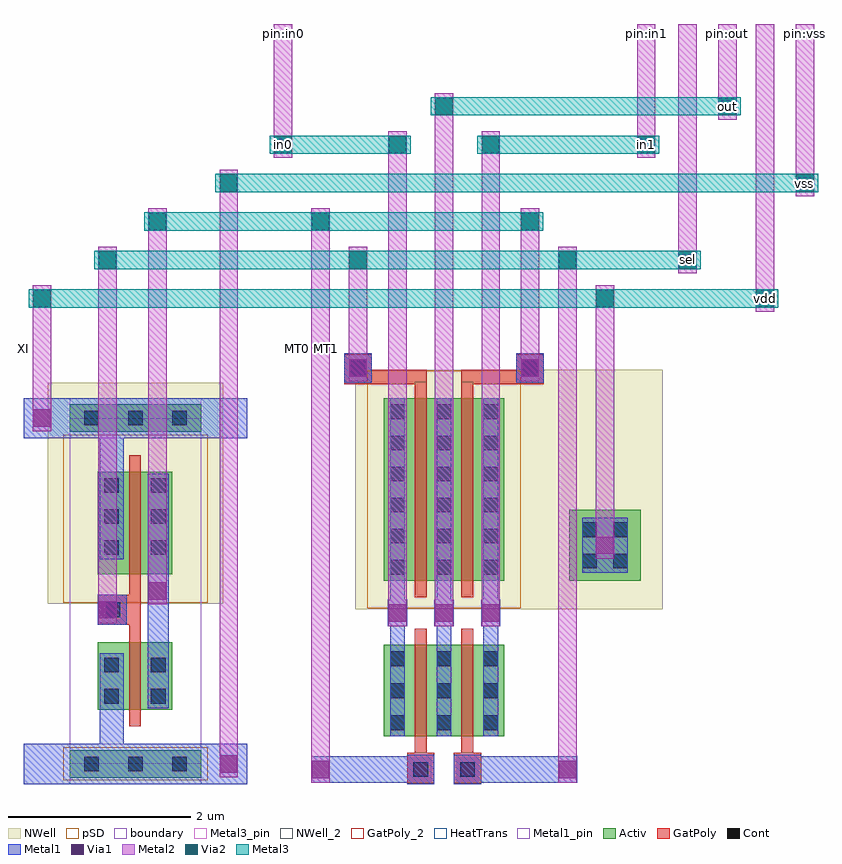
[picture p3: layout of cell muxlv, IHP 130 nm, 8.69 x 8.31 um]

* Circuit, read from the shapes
.subckt muxlv in0 in1 out sel vdd vss
XM1 sg13cmos5l_inv_1_0/Y sel vss vss sg13_lv_nmos w=0.74u l=0.13u
XM2 out sg13cmos5l_inv_1_0/Y in0 vss sg13_lv_nmos w=1u l=0.13u
XM3 in1 sel out vss sg13_lv_nmos w=1u l=0.13u
XM4 sg13cmos5l_inv_1_0/Y sel vdd vdd sg13_lv_pmos w=1.12u l=0.13u
XM5 out sel in0 vdd sg13_lv_pmos w=2u l=0.13u
XM6 in1 sg13cmos5l_inv_1_0/Y out vdd sg13_lv_pmos w=2u l=0.13u
.ends

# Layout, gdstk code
import gdstk
lib = gdstk.Library(unit=1e-6, precision=1e-09)
def R(c, l, rs):  # rectangles x0, y0, x1, y1
    for r in rs: c.add(gdstk.rectangle(r[:2], r[2:], *l))
def A(c, l, x, y, w, h, nx, ny, dx, dy):  # array of equal rectangles
    R(c, l, [(x+i*dx, y+j*dy, x+i*dx+w, y+j*dy+h) for i in range(nx) for j in range(ny)])
def P(c, l, *ps):  # polygons
    for p in ps: c.add(gdstk.Polygon(p, *l))
Activ = (1, 0)
GatPoly = (5, 0)
GatPoly_2 = (5, 2)
Cont = (6, 0)
Metal1 = (8, 0)
Metal1_pin = (8, 2)
Metal2 = (10, 0)
pSD = (14, 0)
Via1 = (19, 0)
Via2 = (29, 0)
Metal3 = (30, 0)
Metal3_pin = (30, 2)
NWell = (31, 0)
NWell_2 = (31, 2)
HeatTrans = (51, 0)
boundary = (189, 4)

sg13cmos5l_inv_1 = lib.new_cell('sg13cmos5l_inv_1')
R(sg13cmos5l_inv_1, Activ, [(0,-0.15,1.44,0.15), (0.31,0.59,1.12,1.33), (0.31,2.075,1.12,3.195), (0,3.63,1.44,3.93)])
P(sg13cmos5l_inv_1, GatPoly, [(0.65,0.41),(0.65,1.52),(0.31,1.52),(0.31,1.85),(0.65,1.85),(0.65,3.375),(0.78,3.375),(0.78,0.41)])
A(sg13cmos5l_inv_1, Cont, 0.38, 2.285, 0.16, 0.16, 1, 3, 0, 0.34)
A(sg13cmos5l_inv_1, Cont, 0.89, 2.285, 0.16, 0.16, 1, 3, 0, 0.34)
R(sg13cmos5l_inv_1, Cont, [(0.16,-0.08,0.32,0.08), (0.16,-0.08,0.32,0.08), (0.64,-0.08,0.8,0.08), (0.64,-0.08,0.8,0.08), (1.12,-0.08,1.28,0.08), (1.12,-0.08,1.28,0.08), (0.38,0.66,0.54,0.82), (0.89,0.66,1.05,0.82), (0.38,1,0.54,1.16), (0.89,1,1.05,1.16), (0.395,1.605,0.555,1.765), (0.16,3.7,0.32,3.86), (0.16,3.7,0.32,3.86), (0.64,3.7,0.8,3.86), (0.64,3.7,0.8,3.86), (1.12,3.7,1.28,3.86), (1.12,3.7,1.28,3.86)])
R(sg13cmos5l_inv_1, Metal1, [(0.855,0.61,1.085,3.175), (0.31,1.52,0.625,1.85)])
P(sg13cmos5l_inv_1, Metal1, [(0,-0.22),(0,0.22),(0.33,0.22),(0.33,1.21),(0.59,1.21),(0.59,0.22),(1.44,0.22),(1.44,-0.22)],
  [(0.33,2.235),(0.33,3.56),(0,3.56),(0,4),(1.44,4),(1.44,3.56),(0.59,3.56),(0.59,2.235)])
R(sg13cmos5l_inv_1, Metal1_pin, [(0,-0.22,1.44,0.22), (0.855,0.61,1.085,3.175), (0.31,1.52,0.625,1.85), (0,3.56,1.44,4)])
R(sg13cmos5l_inv_1, pSD, [(-0.07,-0.18,1.51,0.18), (-0.07,1.76,1.51,3.6)])
R(sg13cmos5l_inv_1, NWell, [(-0.24,1.75,1.68,4.17)])
R(sg13cmos5l_inv_1, boundary, [(0,0,1.44,3.78)])
sg13cmos5l_inv_1.add(gdstk.Label('VDD', (0.705,3.78), layer=8, texttype=25))
sg13cmos5l_inv_1.add(gdstk.Label('VSS', (0.72,-0.02), layer=8, texttype=25))
sg13cmos5l_inv_1.add(gdstk.Label('A', (0.48,1.68), layer=8, texttype=25))
sg13cmos5l_inv_1.add(gdstk.Label('Y', (0.98,1.69), layer=8, texttype=25))

nmos_2 = lib.new_cell('nmos$2')
A(nmos_2, Activ, 0, 0, 0.3, 0.3, 3, 1, 0.51, 0)
R(nmos_2, Activ, [(0,0,1.32,1)])
R(nmos_2, GatPoly, [(0.34,-0.18,0.47,1.18), (0.85,-0.18,0.98,1.18)])
R(nmos_2, GatPoly_2, [(0.34,-0.18,0.47,1.18)])
A(nmos_2, Cont, 0.07, 0.07, 0.16, 0.16, 3, 3, 0.51, 0.35)
A(nmos_2, Metal1, 0.07, 0, 0.16, 1, 3, 1, 0.51, 0)
R(nmos_2, Metal1_pin, [(0.07,0,0.23,1), (0.58,0,0.74,1)])
R(nmos_2, HeatTrans, [(0.34,-0.18,0.47,1.18), (0.85,-0.18,0.98,1.18)])
nmos_2.add(gdstk.Label('nmos', (0.405,0.5), layer=63, texttype=0))
nmos_2.add(gdstk.Label('nmos', (0.405,0.5), layer=51, texttype=0))
nmos_2.add(gdstk.Label('nmos', (0.915,0.5), layer=51, texttype=0))

pmos_2 = lib.new_cell('pmos$2')
A(pmos_2, Activ, 0, 0, 0.3, 0.3, 3, 1, 0.51, 0)
R(pmos_2, Activ, [(0,0,1.32,2)])
R(pmos_2, GatPoly, [(0.34,-0.18,0.47,2.18), (0.34,-0.18,0.47,2.18), (0.85,-0.18,0.98,2.18)])
A(pmos_2, Cont, 0.07, 0.07, 0.16, 0.16, 3, 6, 0.51, 0.34)
R(pmos_2, Metal1, [(0.07,0,0.23,2), (0.07,0,0.23,2), (0.58,0,0.74,2), (0.58,0,0.74,2), (1.09,0,1.25,2)])
R(pmos_2, pSD, [(-0.18,-0.3,1.5,2.3)])
R(pmos_2, NWell, [(-0.31,-0.31,1.63,2.31)])
R(pmos_2, HeatTrans, [(0.34,-0.18,0.47,2.18), (0.85,-0.18,0.98,2.18)])
pmos_2.add(gdstk.Label('pmos', (0.405,1), layer=63, texttype=0))
pmos_2.add(gdstk.Label('pmos', (0.405,1), layer=51, texttype=0))
pmos_2.add(gdstk.Label('pmos', (0.915,1), layer=51, texttype=0))

ntap1 = lib.new_cell('ntap1')
R(ntap1, Activ, [(0,0,0.78,0.78)])
R(ntap1, Cont, [(0.14,0.14,0.3,0.3), (0.48,0.14,0.64,0.3), (0.14,0.48,0.3,0.64), (0.48,0.48,0.64,0.64)])
R(ntap1, Metal1, [(0.14,0.09,0.64,0.69)])
R(ntap1, Metal1_pin, [(0.14,0.09,0.64,0.69), (0.14,0.14,0.64,0.64)])
R(ntap1, NWell, [(-0.24,-0.24,1.02,1.02), (0,0,0.78,0.78)])
R(ntap1, NWell_2, [(0,0,0.78,0.78)])
ntap1.add(gdstk.Label('well', (0.39,0.01), layer=31, texttype=0))
ntap1.add(gdstk.Label('well', (0.39,0.01), layer=63, texttype=0))

muxlv = lib.new_cell('muxlv')
R(muxlv, GatPoly, [(4.19,0.01,4.49,0.34), (4.7,0.01,5,0.34), (3.505,4.37,4.405,4.53), (3.505,4.37,3.805,4.7), (4.785,4.37,5.685,4.53), (5.385,4.37,5.685,4.7)])
R(muxlv, Cont, [(4.26,0.08,4.42,0.24), (4.77,0.08,4.93,0.24), (3.575,4.47,3.735,4.63), (5.455,4.47,5.615,4.63)])
A(muxlv, Metal1, 4.005, 0.52, 0.16, 3.7, 3, 1, 0.51, 0)
A(muxlv, Metal1, 3.98, 1.725, 0.21, 0.29, 3, 1, 0.51, 0)
R(muxlv, Metal1, [(0,0,0.5,0.44), (1.94,0,2.44,0.44), (4.19,0,4.49,0.32), (4.7,0,5,0.32), (3.14,0.015,4.34,0.305), (3.14,0.015,3.35,0.305), (3.35,0.015,4.34,0.305), (4.85,0.015,6.05,0.305), (4.85,0.015,5.84,0.305), (5.84,0.015,6.05,0.305), (2.135,0.075,2.345,0.365), (0.81,1.76,1.02,2.05), (1.355,1.965,1.565,2.255), (6.25,2.465,6.46,2.755), (0,3.78,0.5,4.22), (1.94,3.78,2.44,4.22), (0.095,3.855,0.305,4.145), (3.505,4.39,3.805,4.71), (5.385,4.39,5.685,4.71), (3.55,4.405,3.76,4.695), (5.43,4.405,5.64,4.695)])
R(muxlv, Metal2, [(3.145,0.015,3.345,6.295), (5.845,0.015,6.045,5.875), (2.14,0.075,2.34,6.715), (3.985,1.725,4.185,7.135), (4.495,1.725,4.695,7.555), (5.005,1.725,5.205,7.135), (0.815,1.76,1.015,5.875), (1.36,1.965,1.56,6.295), (6.255,2.465,6.455,5.455), (0.1,3.855,0.3,5.455), (3.555,4.405,3.755,5.875), (5.435,4.405,5.635,6.295), (8.005,5.165,8.205,8.31), (7.155,5.585,7.355,8.31), (8.44,6.425,8.64,8.31), (2.735,6.845,2.935,8.31), (6.705,6.845,6.905,8.31), (7.595,7.265,7.795,8.31)])
A(muxlv, Via1, 3.99, 1.775, 0.19, 0.19, 3, 1, 0.51, 0)
R(muxlv, Via1, [(3.15,0.065,3.34,0.255), (5.85,0.065,6.04,0.255), (2.145,0.125,2.335,0.315), (0.82,1.81,1.01,2), (1.365,2.015,1.555,2.205), (6.26,2.515,6.45,2.705), (0.105,3.905,0.295,4.095), (3.56,4.455,3.75,4.645), (5.44,4.455,5.63,4.645)])
R(muxlv, Via2, [(0.105,5.215,0.295,5.405), (6.26,5.215,6.45,5.405), (8.01,5.215,8.2,5.405), (0.82,5.635,1.01,5.825), (3.56,5.635,3.75,5.825), (5.85,5.635,6.04,5.825), (7.16,5.635,7.35,5.825), (1.365,6.055,1.555,6.245), (3.15,6.055,3.34,6.245), (5.44,6.055,5.63,6.245), (2.145,6.475,2.335,6.665), (8.445,6.475,8.635,6.665), (2.74,6.895,2.93,7.085), (3.99,6.895,4.18,7.085), (5.01,6.895,5.2,7.085), (6.71,6.895,6.9,7.085), (4.5,7.315,4.69,7.505), (7.6,7.315,7.79,7.505)])
R(muxlv, Metal3, [(0.055,5.21,8.25,5.41), (0.77,5.63,7.4,5.83), (1.315,6.05,5.68,6.25), (2.095,6.47,8.685,6.67), (2.69,6.89,4.23,7.09), (4.96,6.89,6.95,7.09), (4.45,7.31,7.84,7.51)])
R(muxlv, Metal3_pin, [(8.04,5.245,8.17,5.375), (7.19,5.665,7.32,5.795), (8.475,6.505,8.605,6.635), (2.77,6.925,2.9,7.055), (6.74,6.925,6.87,7.055), (7.63,7.345,7.76,7.475)])
R(muxlv, NWell, [(3.625,1.91,6.985,4.53)])
muxlv.add(gdstk.Reference(sg13cmos5l_inv_1, (0.5,0.22)))
muxlv.add(gdstk.Reference(nmos_2, (3.935,0.52)))
muxlv.add(gdstk.Reference(pmos_2, (3.935,2.22)))
muxlv.add(gdstk.Reference(ntap1, (5.965,2.22)))
muxlv.add(gdstk.Label('in0', (2.835,6.99), layer=30, texttype=25))
muxlv.add(gdstk.Label('in1', (6.805,6.99), layer=30, texttype=25))
muxlv.add(gdstk.Label('sel', (7.255,5.73), layer=30, texttype=25))
muxlv.add(gdstk.Label('out', (7.695,7.41), layer=30, texttype=25))
muxlv.add(gdstk.Label('vdd', (8.105,5.31), layer=30, texttype=25))
muxlv.add(gdstk.Label('vss', (8.54,6.57), layer=30, texttype=25))
muxlv.add(gdstk.Label('XI', (0,4.76), layer=63, texttype=0))
muxlv.add(gdstk.Label('MT0 MT1', (3.14,4.76), layer=63, texttype=0))
muxlv.add(gdstk.Label('pin:in0', (2.835,8.21), layer=63, texttype=0))
muxlv.add(gdstk.Label('pin:in1', (6.805,8.21), layer=63, texttype=0))
muxlv.add(gdstk.Label('pin:sel', (7.255,8.21), layer=63, texttype=0))
muxlv.add(gdstk.Label('pin:out', (7.695,8.21), layer=63, texttype=0))
muxlv.add(gdstk.Label('pin:vdd', (8.105,8.21), layer=63, texttype=0))
muxlv.add(gdstk.Label('pin:vss', (8.54,8.21), layer=63, texttype=0))

lib.write_gds('muxlv.gds')
